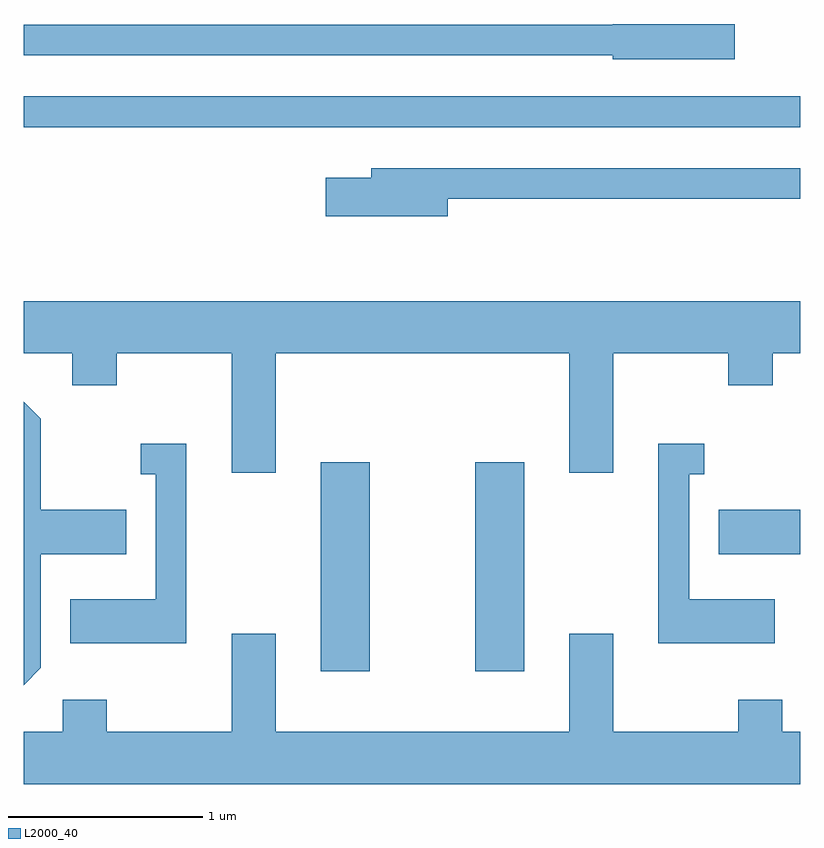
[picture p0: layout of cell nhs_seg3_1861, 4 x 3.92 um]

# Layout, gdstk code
import gdstk
lib = gdstk.Library(unit=1e-6, precision=1e-09)
def R(c, l, rs):  # rectangles x0, y0, x1, y1
    for r in rs: c.add(gdstk.rectangle(r[:2], r[2:], *l))
def P(c, l, *ps):  # polygons
    for p in ps: c.add(gdstk.Polygon(p, *l))
L2000_40 = (2000, 40)

nhs_seg3_1861 = lib.new_cell('nhs_seg3_1861')
R(nhs_seg3_1861, L2000_40, [(241.141,1166.556,241.394,1167.634), (241.936,1166.556,242.189,1167.634), (243.191,1167.161,243.611,1167.389), (239.611,1169.361,243.611,1169.519)])
P(nhs_seg3_1861, L2000_40, [(243.274,1169.892),(242.646,1169.892),(242.646,1169.889),(239.611,1169.889),(239.611,1169.731),(242.646,1169.731),(242.646,1169.711),(243.274,1169.711)],
  [(241.794,1168.991),(243.611,1168.991),(243.611,1169.149),(241.401,1169.149),(241.401,1169.099),(241.166,1169.099),(241.166,1168.901),(241.794,1168.901)],
  [(240.909,1168.196),(242.421,1168.196),(242.421,1167.581),(242.649,1167.581),(242.649,1168.196),(243.241,1168.196),(243.241,1168.031),(243.469,1168.031),(243.469,1168.196),(243.611,1168.196),(243.611,1168.464),(239.611,1168.464),(239.611,1168.196),(239.861,1168.196),(239.861,1168.031),(240.089,1168.031),(240.089,1168.196),(240.681,1168.196),(240.681,1167.581),(240.909,1167.581)],
  [(239.699,1166.574),(239.699,1167.161),(240.139,1167.161),(240.139,1167.389),(239.699,1167.389),(239.699,1167.857),(239.611,1167.945),(239.611,1166.485)],
  [(240.449,1167.729),(240.213,1167.729),(240.213,1167.571),(240.291,1167.571),(240.291,1166.929),(239.851,1166.929),(239.851,1166.701),(240.449,1166.701)],
  [(243.479,1166.929),(243.039,1166.929),(243.039,1167.571),(243.118,1167.571),(243.118,1167.729),(242.881,1167.729),(242.881,1166.701),(243.479,1166.701)],
  [(243.611,1166.244),(243.519,1166.244),(243.519,1166.409),(243.291,1166.409),(243.291,1166.244),(242.649,1166.244),(242.649,1166.749),(242.421,1166.749),(242.421,1166.244),(240.909,1166.244),(240.909,1166.749),(240.681,1166.749),(240.681,1166.244),(240.039,1166.244),(240.039,1166.409),(239.811,1166.409),(239.811,1166.244),(239.611,1166.244),(239.611,1165.976),(243.611,1165.976)])

lib.write_gds('nhs_seg3_1861.gds')
